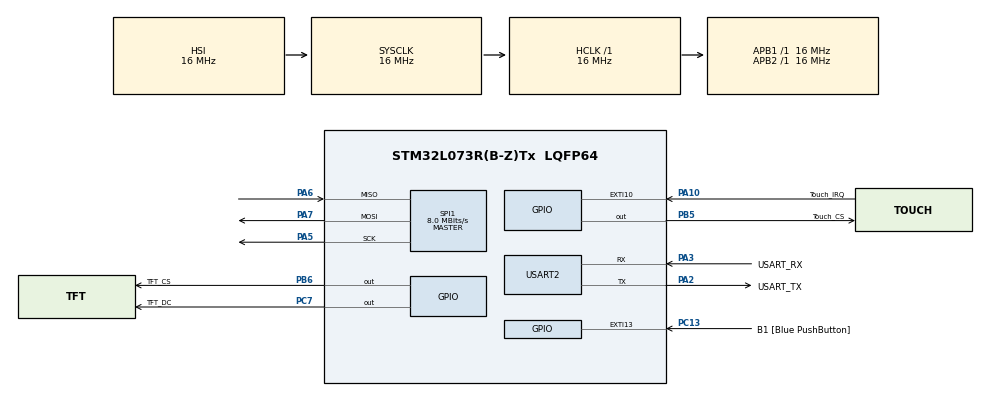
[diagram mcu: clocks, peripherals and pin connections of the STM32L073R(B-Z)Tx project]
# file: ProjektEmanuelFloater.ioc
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Dma.Request0=SPI1_RX
Dma.Request1=SPI1_TX
Dma.Request2=USART2_TX
Dma.Request3=USART2_RX
Dma.SPI1_RX.0.Direction=DMA_PERIPH_TO_MEMORY
Dma.SPI1_RX.0.Instance=DMA1_Channel2
Dma.SPI1_RX.0.MemDataAlignment=DMA_MDATAALIGN_BYTE
Dma.SPI1_RX.0.MemInc=DMA_MINC_ENABLE
Dma.SPI1_RX.0.Mode=DMA_NORMAL
Dma.SPI1_RX.0.PeriphDataAlignment=DMA_PDATAALIGN_BYTE
Dma.SPI1_RX.0.PeriphInc=DMA_PINC_DISABLE
Dma.SPI1_RX.0.Priority=DMA_PRIORITY_LOW
Dma.SPI1_TX.1.Direction=DMA_MEMORY_TO_PERIPH
Dma.SPI1_TX.1.Instance=DMA1_Channel3
Dma.SPI1_TX.1.MemDataAlignment=DMA_MDATAALIGN_BYTE
Dma.SPI1_TX.1.MemInc=DMA_MINC_ENABLE
Dma.SPI1_TX.1.Mode=DMA_NORMAL
Dma.SPI1_TX.1.PeriphDataAlignment=DMA_PDATAALIGN_BYTE
Dma.SPI1_TX.1.PeriphInc=DMA_PINC_DISABLE
Dma.SPI1_TX.1.Priority=DMA_PRIORITY_LOW
Dma.USART2_RX.3.Direction=DMA_PERIPH_TO_MEMORY
Dma.USART2_RX.3.Instance=DMA1_Channel5
Dma.USART2_RX.3.MemDataAlignment=DMA_MDATAALIGN_BYTE
Dma.USART2_RX.3.MemInc=DMA_MINC_ENABLE
Dma.USART2_RX.3.Mode=DMA_CIRCULAR
Dma.USART2_RX.3.PeriphDataAlignment=DMA_PDATAALIGN_BYTE
Dma.USART2_RX.3.PeriphInc=DMA_PINC_DISABLE
Dma.USART2_RX.3.Priority=DMA_PRIORITY_LOW
Dma.USART2_TX.2.Direction=DMA_MEMORY_TO_PERIPH
Dma.USART2_TX.2.Instance=DMA1_Channel4
Dma.USART2_TX.2.MemDataAlignment=DMA_MDATAALIGN_BYTE
Dma.USART2_TX.2.MemInc=DMA_MINC_ENABLE
Dma.USART2_TX.2.Mode=DMA_NORMAL
Dma.USART2_TX.2.PeriphDataAlignment=DMA_PDATAALIGN_BYTE
Dma.USART2_TX.2.PeriphInc=DMA_PINC_DISABLE
Dma.USART2_TX.2.Priority=DMA_PRIORITY_LOW
FREERTOS.BinarySemaphores01=touchSemaphore,Dynamic,NULL,Depleted
FREERTOS.Events01=screenSpiDoneEvent,Dynamic,NULL;touchSpiDoneEvent,Dynamic,NULL
FREERTOS.INCLUDE_xTaskGetCurrentTaskHandle=1
FREERTOS.Mutexes01=spiMutex,Dynamic,NULL,Available
FREERTOS.Tasks01=mainTask,40,300,mainHandler,As weak,NULL,Dynamic,NULL,NULL;debugTxTask,8,256,debugTxHandler,As external,NULL,Dynamic,NULL,NULL;debugRxTask,8,256,debugRxHandler,As external,NULL,Dynamic,NULL,NULL;touchTask,48,300,touchHandler,As external,NULL,Dynamic,NULL,NULL;displayTask,24,300,displayHandler,As external,NULL,Dynamic,NULL,NULL
FREERTOS.configTOTAL_HEAP_SIZE=10000
FREERTOS.configUSE_NEWLIB_REENTRANT=1
Mcu.Family=STM32L0
Mcu.Name=STM32L073R(B-Z)Tx
Mcu.Package=LQFP64
NVIC.DMA1_Channel2_3_IRQn=true\:3\:0\:false\:false\:true\:true\:false\:true\:true
NVIC.DMA1_Channel4_5_6_7_IRQn=true\:3\:0\:false\:false\:true\:true\:false\:true\:true
NVIC.EXTI4_15_IRQn=true\:3\:0\:false\:false\:true\:true\:true\:true\:true
NVIC.TIM6_DAC_IRQn=true\:3\:0\:false\:false\:true\:false\:false\:true\:true
NVIC.TimeBase=TIM6_DAC_IRQn
NVIC.TimeBaseIP=TIM6
NVIC.USART2_IRQn=true\:3\:0\:false\:false\:true\:true\:true\:true\:true
PA10.GPIO_Label=Touch_IRQ
PA10.Signal=GPXTI10
PA13.Mode=Serial_Wire
PA13.Signal=SYS_SWDIO
PA14.Mode=Serial_Wire
PA14.Signal=SYS_SWCLK
PA2.GPIO_Label=USART_TX
PA2.Mode=Asynchronous
PA2.Signal=USART2_TX
PA3.GPIO_Label=USART_RX
PA3.Mode=Asynchronous
PA3.Signal=USART2_RX
PA5.Mode=Full_Duplex_Master
PA5.Signal=SPI1_SCK
PA6.Mode=Full_Duplex_Master
PA6.Signal=SPI1_MISO
PA7.Mode=Full_Duplex_Master
PA7.Signal=SPI1_MOSI
PB5.GPIO_Label=Touch_CS
PB5.Signal=GPIO_Output
PB6.GPIO_Label=TFT_CS
PB6.Signal=GPIO_Output
PC13.GPIO_Label=B1 [Blue PushButton]
PC13.GPIO_ModeDefaultEXTI=GPIO_MODE_IT_FALLING
PC13.Signal=GPXTI13
PC14-OSC32_IN.Mode=LSE-External-Oscillator
PC14-OSC32_IN.Signal=RCC_OSC32_IN
PC15-OSC32_OUT.Mode=LSE-External-Oscillator
PC15-OSC32_OUT.Signal=RCC_OSC32_OUT
PC7.GPIO_Label=TFT_DC
PC7.Signal=GPIO_Output
PH0-OSC_IN.GPIO_Label=MCO
PH0-OSC_IN.Mode=HSE-External-Clock-Source
PH0-OSC_IN.Signal=RCC_OSC_IN
ProjectManager.HeapSize=0x200
ProjectManager.StackSize=0x400
ProjectManager.TargetToolchain=STM32CubeIDE
RCC.AHBFreq_Value=16000000
RCC.APB1Freq_Value=16000000
RCC.APB1TimFreq_Value=16000000
RCC.APB2Freq_Value=16000000
RCC.APB2TimFreq_Value=16000000
RCC.HCLKFreq_Value=16000000
RCC.HSE_VALUE=8000000
RCC.HSI16_VALUE=16000000
RCC.HSI48_VALUE=48000000
RCC.HSI_VALUE=16000000
RCC.MSI_VALUE=2097000
RCC.SYSCLKFreq_VALUE=16000000
RCC.SYSCLKSource=RCC_SYSCLKSOURCE_HSI
RCC.Usart2ClockSelection=RCC_USART2CLKSOURCE_HSI
RCC.VCOOutputFreq_Value=48000000
SPI1.CalculateBaudRate=8.0 MBits/s
SPI1.Direction=SPI_DIRECTION_2LINES
SPI1.Mode=SPI_MODE_MASTER
SPI1.VirtualType=VM_MASTER
USART2.VirtualMode-Asynchronous=VM_ASYNC
VP_FREERTOS_VS_CMSIS_V2.Mode=CMSIS_V2
VP_SYS_VS_tim6.Mode=TIM6
board=NUCLEO-L073RZ

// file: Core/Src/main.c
/* USER CODE BEGIN Header */
/**
  ******************************************************************************
  * @file           : main.c
  * @brief          : Main program body
  ******************************************************************************
  * @attention
  *
  * Copyright (c) 2025 STMicroelectronics.
  * All rights reserved.
  *
  * This software is licensed under terms that can be found in the LICENSE file
  * in the root directory of this software component.
  * If no LICENSE file comes with this software, it is provided AS-IS.
  *
  ******************************************************************************
  */
/* USER CODE END Header */
#include "main.h"
#include "cmsis_os.h"

/* USER CODE BEGIN Includes */
#include <touchscreen_task.h>
#include <stdio.h>
#include <debug_handler.h>
#include <main_task.h>
#include <FreeRTOS.h>
#include <queue.h>
#include "lvgl.h"
/* USER CODE END Includes */

SPI_HandleTypeDef hspi1;
DMA_HandleTypeDef hdma_spi1_rx;
DMA_HandleTypeDef hdma_spi1_tx;

UART_HandleTypeDef huart2;
DMA_HandleTypeDef hdma_usart2_tx;
DMA_HandleTypeDef hdma_usart2_rx;

/* Definitions for mainTask */
osThreadId_t mainTaskHandle;
const osThreadAttr_t mainTask_attributes = {
  .name = "mainTask",
  .stack_size = 250 * 4,
  .priority = (osPriority_t) osPriorityHigh,
};
/* Definitions for debugTxTask */
osThreadId_t debugTxTaskHandle;
const osThreadAttr_t debugTxTask_attributes = {
  .name = "debugTxTask",
  .stack_size = 256 * 4,
  .priority = (osPriority_t) osPriorityLow,
};
/* Definitions for debugRxTask */
osThreadId_t debugRxTaskHandle;
const osThreadAttr_t debugRxTask_attributes = {
  .name = "debugRxTask",
  .stack_size = 256 * 4,
  .priority = (osPriority_t) osPriorityLow,
};
/* Definitions for touchTask */
osThreadId_t touchTaskHandle;
const osThreadAttr_t touchTask_attributes = {
  .name = "touchTask",
  .stack_size = 300 * 4,
  .priority = (osPriority_t) osPriorityRealtime,
};
/* Definitions for displayTask */
osThreadId_t displayTaskHandle;
const osThreadAttr_t displayTask_attributes = {
  .name = "displayTask",
  .stack_size = 350 * 4,
  .priority = (osPriority_t) osPriorityNormal,
};
/* Definitions for spiMutex */
osMutexId_t spiMutexHandle;
const osMutexAttr_t spiMutex_attributes = {
  .name = "spiMutex"
};
/* Definitions for touchSemaphore */
osSemaphoreId_t touchSemaphoreHandle;
const osSemaphoreAttr_t touchSemaphore_attributes = {
  .name = "touchSemaphore"
};
/* Definitions for screenSpiDoneEvent */
osEventFlagsId_t screenSpiDoneEventHandle;
const osEventFlagsAttr_t screenSpiDoneEvent_attributes = {
  .name = "screenSpiDoneEvent"
};
/* Definitions for touchSpiDoneEvent */
osEventFlagsId_t touchSpiDoneEventHandle;
const osEventFlagsAttr_t touchSpiDoneEvent_attributes = {
  .name = "touchSpiDoneEvent"
};

void SystemClock_Config(void);
static void MX_GPIO_Init(void);
static void MX_DMA_Init(void);
static void MX_USART2_UART_Init(void);
static void MX_SPI1_Init(void);
void mainHandler(void *argument);
extern void debugTxHandler(void *argument);
extern void debugRxHandler(void *argument);
extern void touchHandler(void *argument);
extern void displayHandler(void *argument);

int main(void)
{

  /* MCU Configuration--------------------------------------------------------*/

  /* Reset of all peripherals, Initializes the Flash interface and the Systick. */
  HAL_Init();

  /* Configure the system clock */
  SystemClock_Config();

  /* Initialize all configured peripherals */
  MX_GPIO_Init();
  MX_DMA_Init();
  MX_USART2_UART_Init();
  MX_SPI1_Init();
  /* USER CODE BEGIN 2 */
  lv_init();

  lv_port_disp_init();

  /* Register callbacks */
  registerDebugCallbacks();

  /* USER CODE END 2 */

  /* Init scheduler */
  osKernelInitialize();
  /* Create the mutex(es) */
  /* creation of spiMutex */
  spiMutexHandle = osMutexNew(&spiMutex_attributes);

  /* Create the semaphores(s) */
  /* creation of touchSemaphore */
  touchSemaphoreHandle = osSemaphoreNew(1, 0, &touchSemaphore_attributes);

  /* Create the thread(s) */
  /* creation of mainTask */
  mainTaskHandle = osThreadNew(mainHandler, NULL, &mainTask_attributes);

  /* creation of debugTxTask */
  debugTxTaskHandle = osThreadNew(debugTxHandler, NULL, &debugTxTask_attributes);

  /* creation of debugRxTask */
  //debugRxTaskHandle = osThreadNew(debugRxHandler, NULL, &debugRxTask_attributes);

  /* creation of touchTask */
  touchTaskHandle = osThreadNew(touchHandler, NULL, &touchTask_attributes);

  /* creation of displayTask */
  displayTaskHandle = osThreadNew(displayHandler, NULL, &displayTask_attributes);

  /* USER CODE BEGIN RTOS_THREADS */
  /* add threads, ... */

  setupTouchscreenObjects();
  /* add threads, ... */
  setupDebugRtosObjects();
  /* USER CODE END RTOS_THREADS */

  /* creation of screenSpiDoneEvent */
  screenSpiDoneEventHandle = osEventFlagsNew(&screenSpiDoneEvent_attributes);

  /* creation of touchSpiDoneEvent */
  touchSpiDoneEventHandle = osEventFlagsNew(&touchSpiDoneEvent_attributes);

  /* Start scheduler */
  osKernelStart();

  /* We should never get here as control is now taken by the scheduler */

  /* Infinite loop */
  while (1)
  {

  }
}

void SystemClock_Config(void)
{
  RCC_OscInitTypeDef RCC_OscInitStruct = {0};
  RCC_ClkInitTypeDef RCC_ClkInitStruct = {0};
  RCC_PeriphCLKInitTypeDef PeriphClkInit = {0};

  /** Configure the main internal regulator output voltage
  */
  __HAL_PWR_VOLTAGESCALING_CONFIG(PWR_REGULATOR_VOLTAGE_SCALE1);

  /** Initializes the RCC Oscillators according to the specified parameters
  * in the RCC_OscInitTypeDef structure.
  */
  RCC_OscInitStruct.OscillatorType = RCC_OSCILLATORTYPE_HSI;
  RCC_OscInitStruct.HSIState = RCC_HSI_ON;
  RCC_OscInitStruct.HSICalibrationValue = RCC_HSICALIBRATION_DEFAULT;
  RCC_OscInitStruct.PLL.PLLState = RCC_PLL_NONE;
  if (HAL_RCC_OscConfig(&RCC_OscInitStruct) != HAL_OK)
  {
    Error_Handler();
  }

  /** Initializes the CPU, AHB and APB buses clocks
  */
  RCC_ClkInitStruct.ClockType = RCC_CLOCKTYPE_HCLK|RCC_CLOCKTYPE_SYSCLK
                              |RCC_CLOCKTYPE_PCLK1|RCC_CLOCKTYPE_PCLK2;
  RCC_ClkInitStruct.SYSCLKSource = RCC_SYSCLKSOURCE_HSI;
  RCC_ClkInitStruct.AHBCLKDivider = RCC_SYSCLK_DIV1;
  RCC_ClkInitStruct.APB1CLKDivider = RCC_HCLK_DIV1;
  RCC_ClkInitStruct.APB2CLKDivider = RCC_HCLK_DIV1;

  if (HAL_RCC_ClockConfig(&RCC_ClkInitStruct, FLASH_LATENCY_0) != HAL_OK)
  {
    Error_Handler();
  }
  PeriphClkInit.PeriphClockSelection = RCC_PERIPHCLK_USART2;
  PeriphClkInit.Usart2ClockSelection = RCC_USART2CLKSOURCE_HSI;
  if (HAL_RCCEx_PeriphCLKConfig(&PeriphClkInit) != HAL_OK)
  {
    Error_Handler();
  }
}

static void MX_SPI1_Init(void)
{

  /* SPI1 parameter configuration*/
  hspi1.Instance = SPI1;
  hspi1.Init.Mode = SPI_MODE_MASTER;
  hspi1.Init.Direction = SPI_DIRECTION_2LINES;
  hspi1.Init.DataSize = SPI_DATASIZE_8BIT;
  hspi1.Init.CLKPolarity = SPI_POLARITY_LOW;
  hspi1.Init.CLKPhase = SPI_PHASE_1EDGE;
  hspi1.Init.NSS = SPI_NSS_SOFT;
  hspi1.Init.BaudRatePrescaler = SPI_BAUDRATEPRESCALER_2;
  hspi1.Init.FirstBit = SPI_FIRSTBIT_MSB;
  hspi1.Init.TIMode = SPI_TIMODE_DISABLE;
  hspi1.Init.CRCCalculation = SPI_CRCCALCULATION_DISABLE;
  hspi1.Init.CRCPolynomial = 7;
  if (HAL_SPI_Init(&hspi1) != HAL_OK)
  {
    Error_Handler();
  }

}

static void MX_USART2_UART_Init(void)
{

  huart2.Instance = USART2;
  huart2.Init.BaudRate = 115200;
  huart2.Init.WordLength = UART_WORDLENGTH_8B;
  huart2.Init.StopBits = UART_STOPBITS_1;
  huart2.Init.Parity = UART_PARITY_NONE;
  huart2.Init.Mode = UART_MODE_TX_RX;
  huart2.Init.HwFlowCtl = UART_HWCONTROL_NONE;
  huart2.Init.OverSampling = UART_OVERSAMPLING_16;
  huart2.Init.OneBitSampling = UART_ONE_BIT_SAMPLE_DISABLE;
  huart2.AdvancedInit.AdvFeatureInit = UART_ADVFEATURE_NO_INIT;
  if (HAL_UART_Init(&huart2) != HAL_OK)
  {
    Error_Handler();
  }

}

static void MX_DMA_Init(void)
{

  /* DMA controller clock enable */
  __HAL_RCC_DMA1_CLK_ENABLE();

  /* DMA interrupt init */
  /* DMA1_Channel2_3_IRQn interrupt configuration */
  HAL_NVIC_SetPriority(DMA1_Channel2_3_IRQn, 3, 0);
  HAL_NVIC_EnableIRQ(DMA1_Channel2_3_IRQn);
  /* DMA1_Channel4_5_6_7_IRQn interrupt configuration */
  HAL_NVIC_SetPriority(DMA1_Channel4_5_6_7_IRQn, 3, 0);
  HAL_NVIC_EnableIRQ(DMA1_Channel4_5_6_7_IRQn);

}

static void MX_GPIO_Init(void)
{
  GPIO_InitTypeDef GPIO_InitStruct = {0};

  /* GPIO Ports Clock Enable */
  __HAL_RCC_GPIOC_CLK_ENABLE();
  __HAL_RCC_GPIOH_CLK_ENABLE();
  __HAL_RCC_GPIOA_CLK_ENABLE();
  __HAL_RCC_GPIOB_CLK_ENABLE();

  /*Configure GPIO pin Output Level */
  HAL_GPIO_WritePin(TFT_DC_GPIO_Port, TFT_DC_Pin, GPIO_PIN_RESET);

  /*Configure GPIO pin Output Level */
  HAL_GPIO_WritePin(GPIOB, Touch_CS_Pin|TFT_CS_Pin, GPIO_PIN_RESET);

  /*Configure GPIO pin : B1_Pin */
  GPIO_InitStruct.Pin = B1_Pin;
  GPIO_InitStruct.Mode = GPIO_MODE_IT_FALLING;
  GPIO_InitStruct.Pull = GPIO_NOPULL;
  HAL_GPIO_Init(B1_GPIO_Port, &GPIO_InitStruct);

  /*Configure GPIO pin : TFT_DC_Pin */
  GPIO_InitStruct.Pin = TFT_DC_Pin;
  GPIO_InitStruct.Mode = GPIO_MODE_OUTPUT_PP;
  GPIO_InitStruct.Pull = GPIO_NOPULL;
  GPIO_InitStruct.Speed = GPIO_SPEED_FREQ_LOW;
  HAL_GPIO_Init(TFT_DC_GPIO_Port, &GPIO_InitStruct);

  /*Configure GPIO pin : Touch_IRQ_Pin */
  GPIO_InitStruct.Pin = Touch_IRQ_Pin;
  GPIO_InitStruct.Mode = GPIO_MODE_IT_RISING;
  GPIO_InitStruct.Pull = GPIO_NOPULL;
  HAL_GPIO_Init(Touch_IRQ_GPIO_Port, &GPIO_InitStruct);

  /*Configure GPIO pins : Touch_CS_Pin TFT_CS_Pin */
  GPIO_InitStruct.Pin = Touch_CS_Pin|TFT_CS_Pin;
  GPIO_InitStruct.Mode = GPIO_MODE_OUTPUT_PP;
  GPIO_InitStruct.Pull = GPIO_NOPULL;
  GPIO_InitStruct.Speed = GPIO_SPEED_FREQ_LOW;
  HAL_GPIO_Init(GPIOB, &GPIO_InitStruct);

  /* EXTI interrupt init*/
  HAL_NVIC_SetPriority(EXTI4_15_IRQn, 3, 0);
  HAL_NVIC_EnableIRQ(EXTI4_15_IRQn);

}

/* USER CODE BEGIN 4 */
void HAL_SPI_TxRxCpltCallback(SPI_HandleTypeDef *hspi) {
  if (hspi == &ILI9341_SPI_PORT) osEventFlagsSet(screenSpiDoneEventHandle, 0x01);
}
void HAL_SPI_TxCpltCallback(SPI_HandleTypeDef *hspi){
  if (hspi == &ILI9341_SPI_PORT) osEventFlagsSet(screenSpiDoneEventHandle, 0x01);
}
void HAL_SPI_RxCpltCallback(SPI_HandleTypeDef *hspi){
  if (hspi == &ILI9341_SPI_PORT) osEventFlagsSet(screenSpiDoneEventHandle, 0x01);
}
void HAL_SPI_ErrorCallback(SPI_HandleTypeDef *hspi){
  if (hspi == &ILI9341_SPI_PORT) osEventFlagsSet(screenSpiDoneEventHandle, 0x01);
}
void HAL_SPI_AbortCpltCallback(SPI_HandleTypeDef *hspi){
  if (hspi == &ILI9341_SPI_PORT) osEventFlagsSet(screenSpiDoneEventHandle, 0x01);
}

/* USER CODE END 4 */

__weak void mainHandler(void *argument)
{
  for(;;)
  {
    osDelay(1);
  }
}

void HAL_TIM_PeriodElapsedCallback(TIM_HandleTypeDef *htim)
{
  if (htim->Instance == TIM6)
  {
    HAL_IncTick();
    lv_tick_inc(1);
  }
}

void Error_Handler(void)
{
  __disable_irq();
  while (1)
  {
  }
}
